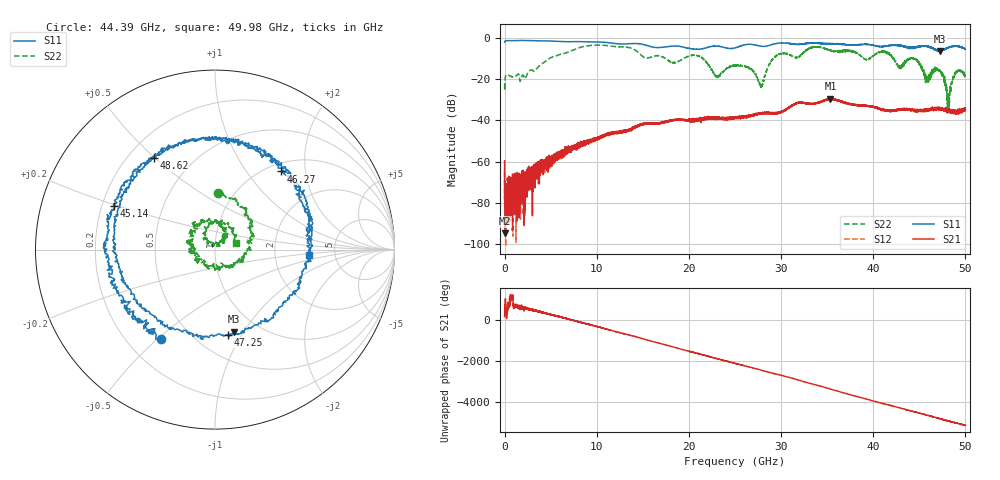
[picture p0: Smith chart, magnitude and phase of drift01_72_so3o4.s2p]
!Created with skrf (http://scikit-rf.org).
# Hz S RI R 50.0
!freq ReS11 ImS11 ReS21 ImS21 ReS12 ImS12 ReS22 ImS22
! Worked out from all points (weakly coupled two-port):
!   10001 points, 300 kHz to 50 GHz, reference 50 ohm
!   highest |S21| = -29.52 dB at 35.35 GHz (marker M1); lowest = -94.7 dB at 75.3 MHz (marker M2)
!   lowest |S11| = -6.6 dB at 47.21 GHz (marker M3), VSWR 2.77, Z = 38.7 - j45.4 ohm
!   |S11| at or under -10 dB: nowhere
!   |S22| runs from -34.5 to -3.6 dB; largest |S21 - S12| = 0.0036
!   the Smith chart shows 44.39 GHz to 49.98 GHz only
!   S11 on the Smith chart (normalised r, x): 44.39 GHz: 0.34, -0.51; 45.14 GHz: 0.25, +0.19; 46.27 GHz: 1.15, +1.48; 47.25 GHz: 0.71, -0.87; 48.62 GHz: 0.30, +0.50; 49.98 GHz: 3.20, -0.24
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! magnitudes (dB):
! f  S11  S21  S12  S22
! 300 kHz  -2.2  -59.7  -64.7  -22.5
! 75.3 MHz  -1.5  -94.7  -76.9  -19.3
! 280.3 MHz  -1.4  -79.2  -74.8  -18.0
! 8.335 GHz  -1.9  -51.9  -51.4  -4.6
! 16.67 GHz  -4.8  -41.5  -41.4  -8.7
! 20.97 GHz  -5.6  -39.5  -40.3  -8.8
! 23.09 GHz  -4.1  -39.4  -38.8  -18.8
! 25 GHz  -5.0  -38.5  -38.5  -13.6
! 27.86 GHz  -4.2  -36.3  -36.7  -23.1
! 29.45 GHz  -2.9  -36.5  -36.4  -8.9
! 33.34 GHz  -2.6  -31.9  -31.9  -4.8
! 35.35 GHz  -2.9  -29.5  -29.8  -6.3
! 41.67 GHz  -3.8  -35.2  -35.3  -8.0
! 44.39 GHz  -4.7  -35.3  -35.3  -10.1
! 45.14 GHz  -4.3  -35.4  -35.3  -13.4
! 46.27 GHz  -4.9  -34.3  -35.0  -17.7
! 47.21 GHz  -6.6  -34.4  -34.4  -16.0
! 47.25 GHz  -6.4  -35.0  -34.3  -16.0
! 48.12 GHz  -4.9  -35.0  -35.9  -28.8
! 48.62 GHz  -4.2  -36.0  -36.3  -20.9
! 49.98 GHz  -5.6  -34.5  -35.0  -18.1
! 50 GHz  -5.6  -35.2  -35.1  -18.0
